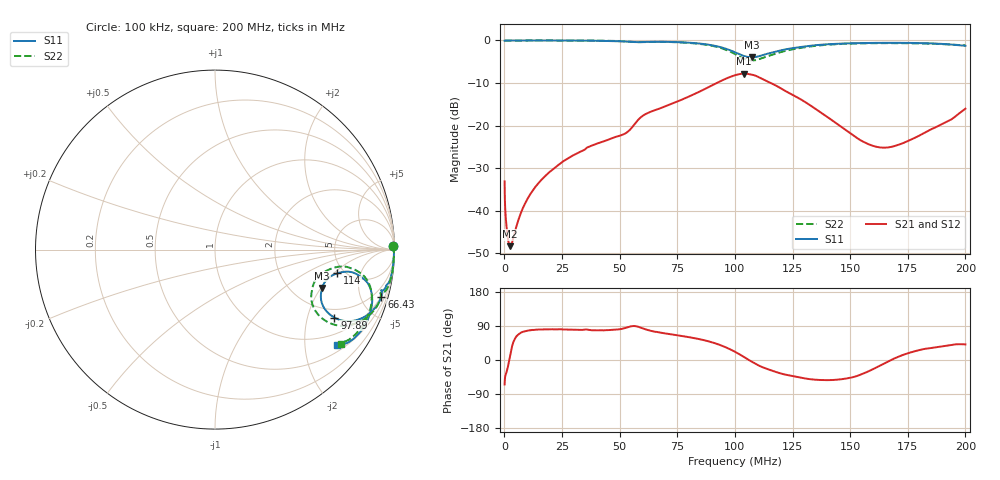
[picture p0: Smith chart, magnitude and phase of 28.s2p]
#  HZ  S  RI  R  50.00
! Rohde & Schwarz Vector Network Analyzer
! Rohde-Schwarz,ZNLE6-2Port,1323001256200024,1.71.1.10-23.02.1.238
! Created: UTC 4/7/2025, 5:58:38 AM
! freq[Hz]  re:S11  im:S11  re:S21  im:S21  re:S12  im:S12  re:S22  im:S22
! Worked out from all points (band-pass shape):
!   1001 points, 100 kHz to 200 MHz, reference 50 ohm
!   highest |S21| = -7.80 dB at 104 MHz (marker M1); lowest = -48.3 dB at 2.491 MHz (marker M2)
!   |S21| within 3 dB of the highest: 89.21 MHz to 118.5 MHz (29.24 MHz wide, 28.2 % of centre)
!   lowest |S11| = -4.0 dB at 107.2 MHz (marker M3), VSWR 4.47, Z = 144 - j103 ohm
!   |S11| at or under -10 dB: nowhere
!   |S22| runs from -4.7 to 0.0 dB; largest |S21 - S12| = 0.0089
!   S11 on the Smith chart (normalised r, x): 100 kHz: 38, +83; 66.43 MHz: 0.96, -7.07; 97.89 MHz: 1.62, -2.97; 114 MHz: 4.37, -2.23; 200 MHz: 0.67, -2.78
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100000  0.9906 0.0197  0.00951 -0.02  0.00954 -0.0201  0.9907 0.0197
355854.1  0.9922 0.00637  0.00775 -0.00731  0.00777 -0.00732  0.9924 0.00637
1266322  0.9952 -0.000853  0.00485 -0.00225  0.00486 -0.00225  0.9952 -0.00106
2490782  0.9963 -0.00708  0.00376 0.000796  0.00377 0.000804  0.9962 -0.00724
3249913  0.9964 -0.0108  0.00346 0.00234  0.00348 0.0023  0.9968 -0.0111
4472136  0.9966 -0.0159  0.00317 0.00454  0.00322 0.00449  0.9971 -0.0164
1.591428e7  0.9951 -0.0628  0.00379 0.0225  0.00402 0.0225  0.9954 -0.0648
5.052933e7  0.9502 -0.2114  0.0111 0.076  0.013 0.0752  0.9529 -0.2266
5.663162e7  0.9262 -0.2277  0.000841 0.1052  0.00377 0.1046  0.923 -0.2421
6.643251e7  0.927 -0.2627  0.0437 0.149  0.0504 0.1474  0.9201 -0.279
8.344716e7  0.85 -0.3638  0.1334 0.2012  0.1398 0.1973  0.8299 -0.3891
9.211385e7  0.7562 -0.3984  0.232 0.2142  0.2386 0.2085  0.7244 -0.4245
9.788884e7  0.6657 -0.3791  0.3272 0.1765  0.3323 0.1693  0.6213 -0.4
1.040259e8  0.5911 -0.2809  0.404 0.053  0.4061 0.0454  0.5375 -0.2834
1.072372e8  0.5973 -0.2132  0.3957 -0.0281  0.3969 -0.0354  0.5446 -0.2054
1.139604e8  0.6824 -0.1322  0.3036 -0.1321  0.301 -0.1389  0.639 -0.1096
1.22029e8  0.7742 -0.1297  0.1979 -0.1588  0.1941 -0.1615  0.7476 -0.1003
1.347027e8  0.8547 -0.193  0.098 -0.125  0.0949 -0.1258  0.845 -0.166
1.53283e8  0.8726 -0.3166  0.0529 -0.0468  0.0511 -0.0475  0.8718 -0.2929
1.616595e8  0.8609 -0.3648  0.0532 -0.0182  0.0519 -0.02  0.8611 -0.3444
1.731053e8  0.8319 -0.4275  0.0607 0.0149  0.0608 0.0124  0.8308 -0.4097
2e8  0.6823 -0.5288  0.1187 0.1038  0.1229 0.1006  0.7029 -0.5245
